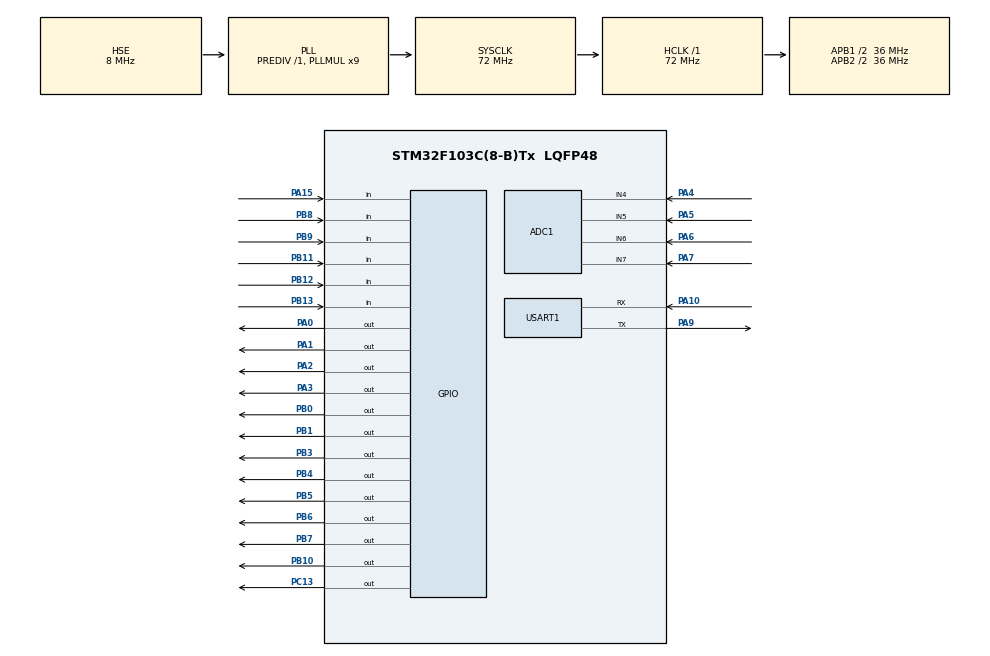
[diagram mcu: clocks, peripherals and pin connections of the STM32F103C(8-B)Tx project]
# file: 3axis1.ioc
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ADC1.Channel-6\#ChannelRegularConversion=ADC_CHANNEL_4
ADC1.Channel-7\#ChannelRegularConversion=ADC_CHANNEL_5
ADC1.Channel-8\#ChannelRegularConversion=ADC_CHANNEL_6
ADC1.Channel-9\#ChannelRegularConversion=ADC_CHANNEL_7
ADC1.ContinuousConvMode=ENABLE
ADC1.DiscontinuousConvMode=DISABLE
ADC1.EnableRegularConversion=ENABLE
ADC1.NbrOfConversion=4
ADC1.NbrOfConversionFlag=1
ADC1.Rank-6\#ChannelRegularConversion=1
ADC1.Rank-7\#ChannelRegularConversion=2
ADC1.Rank-8\#ChannelRegularConversion=3
ADC1.Rank-9\#ChannelRegularConversion=4
ADC1.SamplingTime-6\#ChannelRegularConversion=ADC_SAMPLETIME_239CYCLES_5
ADC1.SamplingTime-7\#ChannelRegularConversion=ADC_SAMPLETIME_239CYCLES_5
ADC1.SamplingTime-8\#ChannelRegularConversion=ADC_SAMPLETIME_239CYCLES_5
ADC1.SamplingTime-9\#ChannelRegularConversion=ADC_SAMPLETIME_239CYCLES_5
ADC1.master=1
Dma.ADC1.0.Direction=DMA_PERIPH_TO_MEMORY
Dma.ADC1.0.Instance=DMA1_Channel1
Dma.ADC1.0.MemDataAlignment=DMA_MDATAALIGN_WORD
Dma.ADC1.0.MemInc=DMA_MINC_ENABLE
Dma.ADC1.0.Mode=DMA_CIRCULAR
Dma.ADC1.0.PeriphDataAlignment=DMA_PDATAALIGN_WORD
Dma.ADC1.0.PeriphInc=DMA_PINC_DISABLE
Dma.ADC1.0.Priority=DMA_PRIORITY_LOW
Dma.Request0=ADC1
Mcu.Family=STM32F1
Mcu.Name=STM32F103C(8-B)Tx
Mcu.Package=LQFP48
NVIC.ADC1_2_IRQn=true\:0\:0\:false\:false\:true\:true\:true\:true
NVIC.DMA1_Channel1_IRQn=true\:0\:0\:false\:false\:true\:false\:true\:true
NVIC.PriorityGroup=NVIC_PRIORITYGROUP_4
NVIC.TIM1_UP_IRQn=true\:0\:0\:false\:false\:true\:true\:true\:true
NVIC.TIM2_IRQn=true\:0\:0\:false\:false\:true\:true\:true\:true
PA0-WKUP.Signal=GPIO_Output
PA1.Signal=GPIO_Output
PA10.Mode=Asynchronous
PA10.Signal=USART1_RX
PA15.Signal=GPIO_Input
PA2.Signal=GPIO_Output
PA3.Signal=GPIO_Output
PA4.Signal=ADCx_IN4
PA5.Signal=ADCx_IN5
PA6.Signal=ADCx_IN6
PA7.Signal=ADCx_IN7
PA9.Mode=Asynchronous
PA9.Signal=USART1_TX
PB0.Signal=GPIO_Output
PB1.Signal=GPIO_Output
PB10.Signal=GPIO_Output
PB11.Signal=GPIO_Input
PB12.Signal=GPIO_Input
PB13.Signal=GPIO_Input
PB3.Signal=GPIO_Output
PB4.Signal=GPIO_Output
PB5.Signal=GPIO_Output
PB6.Signal=GPIO_Output
PB7.Signal=GPIO_Output
PB8.Signal=GPIO_Input
PB9.Signal=GPIO_Input
PC13-TAMPER-RTC.Signal=GPIO_Output
PD0-OSC_IN.Mode=HSE-External-Oscillator
PD0-OSC_IN.Signal=RCC_OSC_IN
PD1-OSC_OUT.Mode=HSE-External-Oscillator
PD1-OSC_OUT.Signal=RCC_OSC_OUT
ProjectManager.HeapSize=0x200
ProjectManager.StackSize=0x400
ProjectManager.TargetToolchain=STM32CubeIDE
RCC.ADCPresc=RCC_ADCPCLK2_DIV4
RCC.AHBFreq_Value=72000000
RCC.APB1CLKDivider=RCC_HCLK_DIV2
RCC.APB1Freq_Value=36000000
RCC.APB1TimFreq_Value=72000000
RCC.APB2CLKDivider=RCC_HCLK_DIV2
RCC.APB2Freq_Value=36000000
RCC.APB2TimFreq_Value=72000000
RCC.HCLKFreq_Value=72000000
RCC.PLLMUL=RCC_PLL_MUL9
RCC.PLLSourceVirtual=RCC_PLLSOURCE_HSE
RCC.SYSCLKFreq_VALUE=72000000
RCC.SYSCLKSource=RCC_SYSCLKSOURCE_PLLCLK
RCC.USBFreq_Value=72000000
SH.ADCx_IN4.0=ADC1_IN4,IN4
SH.ADCx_IN5.0=ADC1_IN5,IN5
SH.ADCx_IN6.0=ADC1_IN6,IN6
SH.ADCx_IN7.0=ADC1_IN7,IN7
TIM1.Period=2000
TIM1.Prescaler=35
TIM2.Period=2000
TIM2.Prescaler=35
USART1.VirtualMode=VM_ASYNC
VP_SYS_VS_ND.Mode=No_Debug
VP_TIM1_VS_ClockSourceINT.Mode=Internal
VP_TIM2_VS_ClockSourceINT.Mode=Internal
board=custom

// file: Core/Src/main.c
/* USER CODE BEGIN Header */
/**3axis step motor  control v 1.1
 Created on:mehr,1404
  ******************************************************************************
  * @file           : main.c
  * @brief          : Main program body
  ******************************************************************************
    * Copyright (c) 2025 STMicroelectronics.
  * All rights reserved.

  ******************************************************************************
  */
/* USER CODE END Header */
#include "main.h"
#include "adc.h"
#include "dma.h"
#include "tim.h"
#include "usart.h"
#include "gpio.h"

/* USER CODE BEGIN Includes */
#include "stdio.h"
#include "string.h"
#include "lcd.h"

#include "motor_control.h"
/* USER CODE END Includes */

void SystemClock_Config(void);

/* USER CODE BEGIN 0 */
volatile uint32_t adcValues[4];
/* USER CODE END 0 */

int main(void)
{

  /* MCU Configuration--------------------------------------------------------*/

  /* Reset of all peripherals, Initializes the Flash interface and the Systick. */
  HAL_Init();

  /* USER CODE BEGIN Init */
  HAL_Delay(200);

 // char lcd0[20], lcd1[20],lcd2[20], lcd3[20];
  uint32_t lastLCDUpdate = 0;

  // [0] = PA4 , [1] = PA7
  /* USER CODE END Init */

  /* Configure the system clock */
  SystemClock_Config();

  /* Initialize all configured peripherals */
  MX_GPIO_Init();
  MX_DMA_Init();
  MX_ADC1_Init();
  MX_USART1_UART_Init();
  MX_TIM2_Init();
  MX_TIM1_Init();
  /* USER CODE BEGIN 2 */
  /*-[ I2C Bus Scanning ]-*/
  HAL_TIM_Base_Start_IT(&htim1);

  HAL_TIM_Base_Start_IT(&htim2);
  LCD_Init();
        LCD_Send_Command(0x01); // پاک کردن LCD
        LCD_Set_Cursor(0, 0);
        LCD_Send_String( "K.S.A 3axis control ");

      HAL_Delay(2000);
      LCD_Send_Command(0x01);
      LCD_Set_Cursor(0, 0);

  /* USER CODE END 2 */

  /* Infinite loop */
  /* USER CODE BEGIN WHILE */

     // HAL_ADC_Start(&hadc1); // شروع ADC

			  LCD_Send_Command(0x01); // پاک کردن LCD
			  LCD_Set_Cursor(0, 0);
			  LCD_Send_String("HOMING .......");
			  MotorControl_StepMotor_homing(1);

			  HAL_GPIO_TogglePin(GPIOC, GPIO_PIN_13);
			  HAL_ADCEx_Calibration_Start(&hadc1);
			  HAL_ADC_Start_DMA(&hadc1, (uint32_t*)adcValues, 4);
	uint8_t msg[] = "***";
	LCD_Send_Command(0x01); // پاک کردن LCD
  while (1)
  {
	 // Read_ADC();
	HAL_Delay(100);

	//float voltage_pa4 = adcValues[0];
	//float voltage_pa5 = adcValues[1];
	float voltage_pa6 = adcValues[2];
	float voltage_pa7 = adcValues[3];

	HAL_UART_Transmit(&huart1, msg, sizeof(msg), 10000);
	MotorControl_UpdateSpeed(voltage_pa7,voltage_pa6);

	 if(HAL_GetTick() - lastLCDUpdate > 100)
	 {
		lastLCDUpdate = HAL_GetTick();
		 MotorControl_LCDUpdate();
	}
	 HAL_Delay(500);
	       /*  sprintf(lcd0,"%.0f", voltage_pa4);
	         LCD_Set_Cursor(0, 0);
	         LCD_Send_String(lcd0);
	         HAL_UART_Transmit(&huart1,(uint8_t*) lcd0,strlen(lcd0), 10000);
	         HAL_UART_Transmit(&huart1, msg, sizeof(msg), 10000);

	         sprintf(lcd1,"%.0f", voltage_pa5);
	         LCD_Set_Cursor(1, 1);
			 LCD_Send_String(lcd1);
			HAL_UART_Transmit(&huart1,(uint8_t*) lcd1, strlen(lcd0), 10000);
		    HAL_UART_Transmit(&huart1, msg, sizeof(msg), 10000);
		    HAL_UART_Transmit(&huart1, "a6= ", sizeof("a6= "), 10000);

		    sprintf(lcd2,"%.0f", voltage_pa6);
			LCD_Set_Cursor(2, 2);
			LCD_Send_String(lcd2);
			HAL_UART_Transmit(&huart1,(uint8_t*) lcd2, strlen(lcd2), 10000);
			HAL_UART_Transmit(&huart1, msg, sizeof(msg), 10000);
			HAL_UART_Transmit(&huart1, "a7= ", sizeof("a7= "), 10000);

			sprintf(lcd3,"%.0f", voltage_pa7);
			LCD_Set_Cursor(3, 3);
			LCD_Send_String(lcd3);
			HAL_UART_Transmit(&huart1,(uint8_t*) lcd3, strlen(lcd3), 10000);
			HAL_UART_Transmit(&huart1, msg, sizeof(msg), 10000);
			HAL_UART_Transmit(&huart1, msg, sizeof(msg), 10000);

*/

    /* USER CODE END WHILE */

  }
}

void SystemClock_Config(void)
{
  RCC_OscInitTypeDef RCC_OscInitStruct = {0};
  RCC_ClkInitTypeDef RCC_ClkInitStruct = {0};
  RCC_PeriphCLKInitTypeDef PeriphClkInit = {0};

  /** Initializes the RCC Oscillators according to the specified parameters
  * in the RCC_OscInitTypeDef structure.
  */
  RCC_OscInitStruct.OscillatorType = RCC_OSCILLATORTYPE_HSE;
  RCC_OscInitStruct.HSEState = RCC_HSE_ON;
  RCC_OscInitStruct.HSEPredivValue = RCC_HSE_PREDIV_DIV1;
  RCC_OscInitStruct.HSIState = RCC_HSI_ON;
  RCC_OscInitStruct.PLL.PLLState = RCC_PLL_ON;
  RCC_OscInitStruct.PLL.PLLSource = RCC_PLLSOURCE_HSE;
  RCC_OscInitStruct.PLL.PLLMUL = RCC_PLL_MUL9;
  if (HAL_RCC_OscConfig(&RCC_OscInitStruct) != HAL_OK)
  {
    Error_Handler();
  }

  /** Initializes the CPU, AHB and APB buses clocks
  */
  RCC_ClkInitStruct.ClockType = RCC_CLOCKTYPE_HCLK|RCC_CLOCKTYPE_SYSCLK
                              |RCC_CLOCKTYPE_PCLK1|RCC_CLOCKTYPE_PCLK2;
  RCC_ClkInitStruct.SYSCLKSource = RCC_SYSCLKSOURCE_PLLCLK;
  RCC_ClkInitStruct.AHBCLKDivider = RCC_SYSCLK_DIV1;
  RCC_ClkInitStruct.APB1CLKDivider = RCC_HCLK_DIV2;
  RCC_ClkInitStruct.APB2CLKDivider = RCC_HCLK_DIV2;

  if (HAL_RCC_ClockConfig(&RCC_ClkInitStruct, FLASH_LATENCY_2) != HAL_OK)
  {
    Error_Handler();
  }
  PeriphClkInit.PeriphClockSelection = RCC_PERIPHCLK_ADC;
  PeriphClkInit.AdcClockSelection = RCC_ADCPCLK2_DIV4;
  if (HAL_RCCEx_PeriphCLKConfig(&PeriphClkInit) != HAL_OK)
  {
    Error_Handler();
  }
}

/* USER CODE BEGIN 4 */

void HAL_TIM_PeriodElapsedCallback(TIM_HandleTypeDef *htim) {
    if(htim->Instance == TIM2) {

    	 if( motorEnable==1)
    	 {if(HAL_GPIO_ReadPin(LIMIT_UP_GPIO_Port, LIMIT_UP_Pin) == GPIO_PIN_RESET &&
    	           HAL_GPIO_ReadPin(DIR_GPIO_Port, DIR_Pin) == GPIO_PIN_SET)
    	        {
    	            return;
    	        }

    	        if(HAL_GPIO_ReadPin(LIMIT_DOWN_GPIO_Port, LIMIT_DOWN_Pin) == GPIO_PIN_RESET &&
    	           HAL_GPIO_ReadPin(DIR_GPIO_Port, DIR_Pin) == GPIO_PIN_RESET)
    	        {
    	            return;
    	        }
    	MotorControl_TIMCallback();
    	 }
    }
    if(htim->Instance == TIM1) {

       	 if( motorEnable_2==1)
       	 {if(HAL_GPIO_ReadPin(LIMIT_UP_GPIO_Port_2, LIMIT_UP_Pin_2) == GPIO_PIN_RESET &&
       	           HAL_GPIO_ReadPin(DIR_GPIO_Port_2, DIR_Pin_2) == GPIO_PIN_SET)
       	        {
       	            return;
       	        }

       	        if(HAL_GPIO_ReadPin(LIMIT_DOWN_GPIO_Port_2, LIMIT_DOWN_Pin_2) == GPIO_PIN_RESET &&
       	           HAL_GPIO_ReadPin(DIR_GPIO_Port_2, DIR_Pin_2) == GPIO_PIN_RESET)
       	        {
       	            return;
       	        }
       	MotorControl_TIMCallback_2();
       	 }
       }
}

/* USER CODE END 4 */

void Error_Handler(void)
{
  __disable_irq();
  while (1)
  {
  }
}
